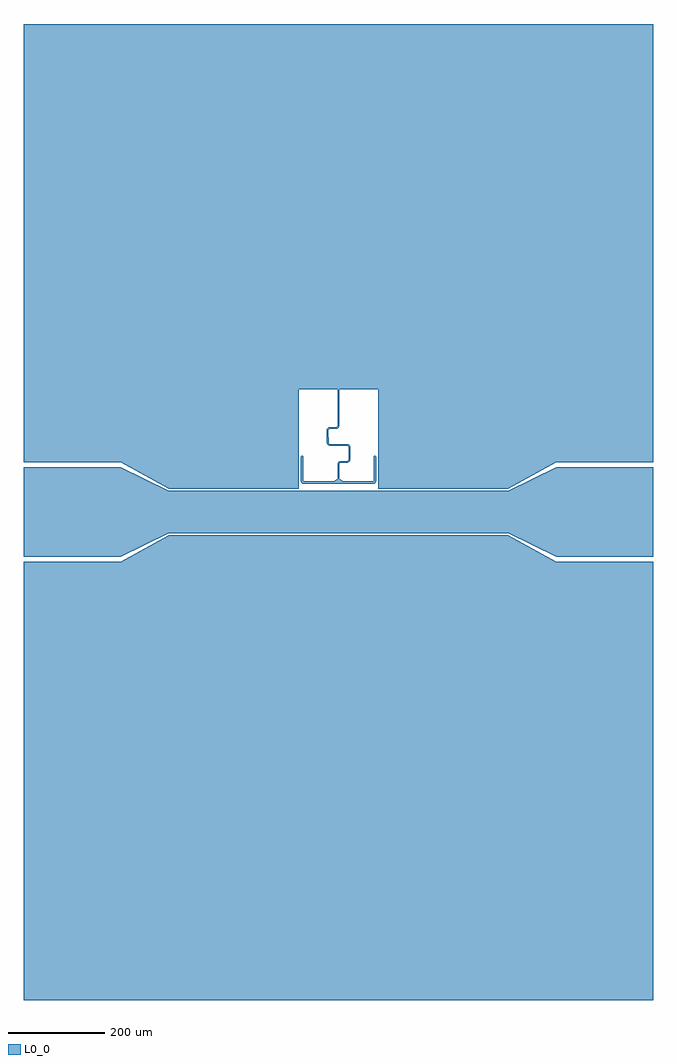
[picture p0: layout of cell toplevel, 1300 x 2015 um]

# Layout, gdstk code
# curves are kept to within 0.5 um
import gdstk
lib = gdstk.Library(unit=1e-6, precision=1e-09)
def P(c, l, *ps):  # polygons
    for p in ps: c.add(gdstk.Polygon(p, *l))
L0_0 = (0, 0)

toplevel = lib.new_cell('toplevel')
P(toplevel, L0_0, [(82.5,253.5),(82.5,48.5),(350,48.5),(450,102.575),(650,102.575),(650,1007.5),(-650,1007.5),(-650,102.575),(-450,102.575),(-350,48.5),(-82.5,48.5),(-82.5,253.5)],
  [(650,-1007.5),(650,-102.575),(450,-102.575),(350,-48.5),(-350,-48.5),(-450,-102.575),(-650,-102.575),(-650,-1007.5)],
  [(-75.109,115.998),(-76.768,115.268),(-77.498,113.609),(-77.495,64.962),(-76.516,61.139),(-73.652,58.912),(71.038,58.505),(74.93,59.527),(77.088,62.348),(77.498,113.609),(75.855,115.849),(73.566,115.548),(72.502,113.609),(72.054,63.65),(-70.62,63.5),(-72.235,63.74),(-72.492,64.93),(-72.51,113.718),(-73.393,115.415)],
  [(1.75,68.5),(1.754,97.696),(2.247,100.38),(3.12,101.253),(4.657,101.682),(19.129,101.982),(22.295,103.575),(23.47,105.225),(24.25,110.045),(24.189,133.95),(22.669,138.024),(19.738,139.865),(-17.693,140.302),(-19.794,141.029),(-20.643,142.868),(-20.745,167.753),(-20.152,170.552),(-17.667,171.7),(-2.762,172.135),(0.08,173.873),(1.533,176.947),(1.75,253.5),(-1.75,253.5),(-1.898,177.637),(-2.561,176.171),(-3.917,175.448),(-18.679,175.1),(-21.341,174.162),(-23.139,172.378),(-24.237,168.116),(-24.249,144.575),(-23.47,140.225),(-22.328,138.607),(-18.531,136.878),(16.809,136.744),(19.651,136.084),(20.428,134.99),(20.75,110.045),(20.399,106.935),(18.99,105.572),(17.032,105.262),(5.783,105.246),(2.185,104.669),(-0.05,103.161),(-1.493,100.242),(-1.75,68.5)],
  [(10,63.5),(1.75,68.5),(-1.75,68.5),(-10,63.5)],
  [(-350,43.5),(-450,92),(-650,92),(-650,-92),(-450,-92),(-350,-43.5),(350,-43.5),(450,-92),(650,-92),(650,92),(450,92),(350,43.5)])

lib.write_gds('toplevel.gds')
